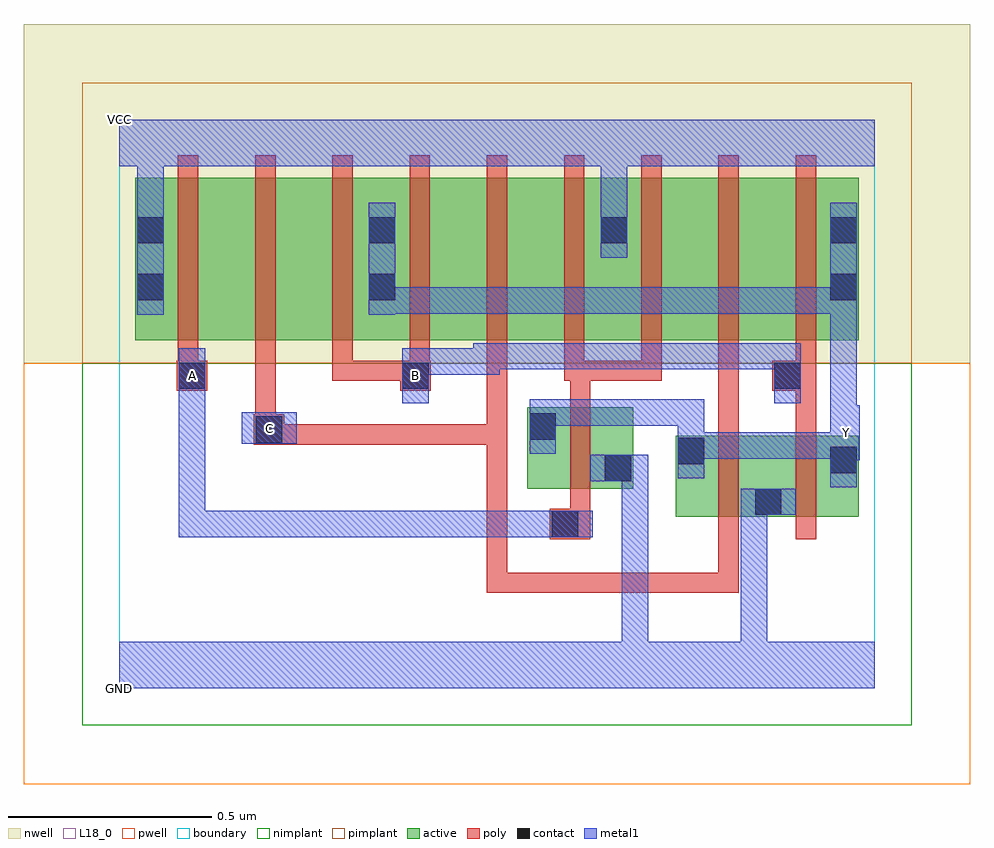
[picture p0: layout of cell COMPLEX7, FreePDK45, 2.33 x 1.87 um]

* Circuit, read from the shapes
.subckt COMPLEX7 A B C GND VCC Y
M1 GND A Y VSUBS nfet w=0.2u l=0.05u
M2 GND C Y VSUBS nfet w=0.2u l=0.05u
M3 Y B GND VSUBS nfet w=0.2u l=0.05u
M4 n1 A VCC n2 pfet w=0.4u l=0.05u
M5 n3 C n1 n2 pfet w=0.4u l=0.05u
M6 Y B n3 n2 pfet w=0.4u l=0.05u
M7 n4 B Y n2 pfet w=0.4u l=0.05u
M8 n5 C n4 n2 pfet w=0.4u l=0.05u
M9 VCC A n5 n2 pfet w=0.4u l=0.05u
M10 n6 A VCC n2 pfet w=0.4u l=0.05u
M11 n7 C n6 n2 pfet w=0.4u l=0.05u
M12 Y B n7 n2 pfet w=0.4u l=0.05u
.ends

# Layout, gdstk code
import gdstk
lib = gdstk.Library(unit=1e-6, precision=1e-09)
def R(c, l, rs):  # rectangles x0, y0, x1, y1
    for r in rs: c.add(gdstk.rectangle(r[:2], r[2:], *l))
def A(c, l, x, y, w, h, nx, ny, dx, dy):  # array of equal rectangles
    R(c, l, [(x+i*dx, y+j*dy, x+i*dx+w, y+j*dy+h) for i in range(nx) for j in range(ny)])
active = (1, 0)
pwell = (2, 0)
nwell = (3, 0)
nimplant = (4, 0)
pimplant = (5, 0)
poly = (9, 0)
contact = (10, 0)
metal1 = (11, 0)
L18_0 = (18, 0)
boundary = (235, 0)

complex7 = lib.new_cell('COMPLEX7')
A(complex7, active, 0.04, 0.857, 0.225, 0.4, 3, 1, 0.57, 0)
A(complex7, active, 0.265, 0.857, 0.19, 0.4, 3, 1, 0.57, 0)
R(complex7, active, [(1.37,0.422,1.445,0.622), (1.37,0.422,1.635,0.622), (1.56,0.422,1.82,0.622), (1.56,0.422,1.635,0.497), (1.745,0.422,1.82,0.622), (1.005,0.492,1.08,0.692), (1.005,0.492,1.265,0.692), (1.19,0.505,1.265,0.692), (0.04,0.857,0.115,1.257), (0.455,0.857,0.685,1.257), (0.61,0.857,0.685,1.2), (1.025,0.857,1.255,1.257), (1.18,0.857,1.255,1.257), (1.595,0.857,1.82,1.257), (1.745,0.857,1.82,1.2)])
R(complex7, pwell, [(-0.235,-0.235,2.095,0.8)])
R(complex7, nwell, [(-0.235,0.8,2.095,1.635)])
R(complex7, nimplant, [(-0.09,-0.09,1.95,0.8)])
R(complex7, pimplant, [(-0.09,0.8,1.95,1.49)])
A(complex7, poly, 0.145, 0.802, 0.05, 0.51, 9, 1, 0.19, 0)
R(complex7, poly, [(0.905,0.235,0.955,0.285), (0.905,0.235,1.027,0.285), (0.905,0.235,0.955,0.65), (0.977,0.235,1.027,0.285), (0.977,0.235,1.202,0.285), (1.152,0.235,1.202,0.285), (1.152,0.235,1.202,0.285), (1.152,0.235,1.202,0.285), (1.152,0.235,1.392,0.285), (1.342,0.235,1.392,0.285), (1.342,0.235,1.525,0.285), (1.475,0.235,1.525,0.285), (1.475,0.235,1.525,0.285), (1.475,0.235,1.525,0.285), (1.475,0.235,1.525,0.285), (1.475,0.235,1.525,0.285), (1.475,0.235,1.525,0.417), (1.06,0.367,1.16,0.442), (1.475,0.367,1.525,0.677), (1.665,0.367,1.715,0.677), (1.11,0.392,1.16,0.487), (1.11,0.437,1.16,0.747), (0.332,0.6,0.407,0.675), (0.357,0.6,0.407,0.65), (0.357,0.6,0.407,0.65), (0.357,0.6,0.407,0.65), (0.357,0.6,0.407,0.65), (0.357,0.6,0.61,0.65), (0.56,0.6,0.61,0.65), (0.56,0.6,0.61,0.65), (0.56,0.6,0.61,0.65), (0.56,0.6,0.742,0.65), (0.692,0.6,0.742,0.65), (0.692,0.6,0.742,0.65), (0.692,0.6,0.742,0.65), (0.692,0.6,0.875,0.65), (0.825,0.6,0.875,0.65), (0.825,0.6,0.955,0.65), (0.905,0.6,0.955,0.65), (0.905,0.6,0.955,0.65), (0.905,0.6,0.955,0.65), (0.905,0.6,0.955,0.65), (0.905,0.6,0.955,0.65), (0.905,0.6,0.955,0.65), (0.905,0.6,0.955,0.65), (0.905,0.6,0.955,0.852), (0.335,0.625,0.385,0.852), (1.475,0.627,1.525,0.722), (1.665,0.627,1.715,0.782), (1.475,0.672,1.525,0.852), (1.475,0.672,1.525,0.722), (1.11,0.697,1.16,0.807), (0.142,0.732,0.217,0.807), (0.692,0.732,0.767,0.807), (1.607,0.732,1.715,0.807), (0.145,0.757,0.195,0.852), (0.525,0.757,0.575,0.852), (0.525,0.757,0.575,0.807), (0.525,0.757,0.742,0.807), (0.692,0.757,0.742,0.807), (0.692,0.757,0.742,0.807), (0.715,0.757,0.765,0.852), (1.095,0.757,1.145,0.852), (1.095,0.757,1.16,0.807), (1.11,0.757,1.16,0.807), (1.11,0.757,1.16,0.807), (1.11,0.757,1.335,0.807), (1.285,0.757,1.335,0.852), (1.285,0.757,1.335,0.807), (1.665,0.757,1.715,0.852)])
A(complex7, contact, 0.045, 1.095, 0.065, 0.065, 3, 1, 0.57, 0)
R(complex7, contact, [(1.065,0.372,1.13,0.437), (1.565,0.427,1.63,0.492), (1.195,0.51,1.26,0.575), (1.75,0.53,1.815,0.595), (1.375,0.552,1.44,0.617), (0.337,0.605,0.402,0.67), (1.01,0.612,1.075,0.677), (0.147,0.737,0.212,0.802), (0.697,0.737,0.762,0.802), (1.612,0.737,1.677,0.802), (0.045,0.955,0.11,1.02), (0.615,0.955,0.68,1.02), (1.75,0.955,1.815,1.02), (1.75,1.095,1.815,1.16)])
R(complex7, metal1, [(0,0,1.86,0.115), (1.237,0.05,1.302,0.115), (1.237,0.05,1.302,0.115), (1.237,0.05,1.302,0.115), (1.237,0.05,1.302,0.115), (1.237,0.05,1.302,0.115), (1.237,0.05,1.302,0.115), (1.237,0.05,1.302,0.115), (1.237,0.05,1.302,0.115), (1.237,0.05,1.302,0.575), (1.53,0.05,1.595,0.115), (1.53,0.05,1.595,0.115), (1.53,0.05,1.595,0.115), (1.53,0.05,1.595,0.115), (1.53,0.05,1.595,0.115), (1.53,0.05,1.595,0.115), (1.53,0.05,1.595,0.115), (1.53,0.05,1.595,0.115), (1.53,0.05,1.595,0.492), (0.147,0.372,0.35,0.437), (0.147,0.372,0.212,0.437), (0.147,0.372,0.212,0.767), (0.285,0.372,0.35,0.437), (0.285,0.372,0.35,0.437), (0.285,0.372,0.35,0.437), (0.285,0.372,0.542,0.437), (0.477,0.372,0.542,0.437), (0.477,0.372,0.762,0.437), (0.697,0.372,0.9,0.437), (0.697,0.372,0.762,0.437), (0.697,0.372,0.762,0.437), (0.697,0.372,0.762,0.437), (0.835,0.372,0.9,0.437), (0.835,0.372,0.9,0.437), (0.835,0.372,0.9,0.437), (0.835,0.372,0.9,0.437), (0.835,0.372,0.9,0.437), (0.835,0.372,0.9,0.437), (0.835,0.372,0.9,0.437), (0.835,0.372,1.075,0.437), (1.01,0.372,1.075,0.437), (1.01,0.372,1.095,0.437), (1.03,0.372,1.165,0.437), (1.53,0.427,1.665,0.492), (1.75,0.495,1.815,0.63), (1.16,0.51,1.302,0.575), (1.375,0.517,1.44,0.712), (1.75,0.562,1.815,0.627), (1.75,0.562,1.822,0.697), (1.375,0.565,1.44,0.63), (1.375,0.565,1.44,0.63), (1.375,0.565,1.577,0.63), (1.512,0.565,1.577,0.63), (1.512,0.565,1.577,0.63), (1.512,0.565,1.577,0.63), (1.512,0.565,1.815,0.63), (1.01,0.577,1.075,0.712), (0.302,0.602,0.437,0.68), (1.75,0.632,1.815,0.985), (1.01,0.647,1.075,0.712), (1.01,0.647,1.075,0.712), (1.01,0.647,1.302,0.712), (1.237,0.647,1.44,0.712), (1.237,0.647,1.302,0.712), (1.237,0.647,1.302,0.712), (1.237,0.647,1.302,0.712), (0.147,0.702,0.212,0.767), (0.147,0.702,0.212,0.767), (0.147,0.702,0.212,0.837), (0.697,0.702,0.762,0.837), (1.612,0.702,1.677,0.837), (0.697,0.772,0.937,0.837), (0.872,0.772,0.937,0.85), (1.612,0.772,1.677,0.837), (1.612,0.772,1.677,0.85), (0.872,0.785,0.937,0.85), (0.872,0.785,0.937,0.85), (0.872,0.785,1.087,0.85), (1.022,0.785,1.087,0.85), (1.022,0.785,1.087,0.85), (1.022,0.785,1.087,0.85), (1.022,0.785,1.302,0.85), (1.237,0.785,1.44,0.85), (1.237,0.785,1.302,0.85), (1.237,0.785,1.302,0.85), (1.237,0.785,1.302,0.85), (1.375,0.785,1.44,0.85), (1.375,0.785,1.44,0.85), (1.375,0.785,1.44,0.85), (1.375,0.785,1.677,0.85), (0.045,0.92,0.11,1.195), (0.615,0.92,0.68,1.195), (1.75,0.92,1.815,1.195), (0.615,0.922,0.68,0.987), (0.615,0.922,0.68,0.987), (0.615,0.922,0.9,0.987), (0.835,0.922,0.9,0.987), (0.835,0.922,0.9,0.987), (0.835,0.922,0.9,0.987), (0.835,0.922,1.087,0.987), (1.022,0.922,1.087,0.987), (1.022,0.922,1.087,0.987), (1.022,0.922,1.087,0.987), (1.022,0.922,1.302,0.987), (1.237,0.922,1.44,0.987), (1.237,0.922,1.302,0.987), (1.237,0.922,1.302,0.987), (1.237,0.922,1.302,0.987), (1.375,0.922,1.44,0.987), (1.375,0.922,1.44,0.987), (1.375,0.922,1.44,0.987), (1.375,0.922,1.677,0.987), (1.612,0.922,1.815,0.987), (1.612,0.922,1.677,0.987), (1.612,0.922,1.677,0.987), (1.612,0.922,1.677,0.987), (1.185,1.06,1.25,1.195), (0.045,1.13,0.11,1.35), (1.185,1.13,1.25,1.35), (0,1.285,1.86,1.4)])
R(complex7, L18_0, [(0,0,1.86,0.115), (1.237,0.05,1.302,0.115), (1.237,0.05,1.302,0.115), (1.237,0.05,1.302,0.115), (1.237,0.05,1.302,0.115), (1.237,0.05,1.302,0.115), (1.237,0.05,1.302,0.115), (1.237,0.05,1.302,0.115), (1.237,0.05,1.302,0.115), (1.237,0.05,1.302,0.575), (1.53,0.05,1.595,0.115), (1.53,0.05,1.595,0.115), (1.53,0.05,1.595,0.115), (1.53,0.05,1.595,0.115), (1.53,0.05,1.595,0.115), (1.53,0.05,1.595,0.115), (1.53,0.05,1.595,0.115), (1.53,0.05,1.595,0.115), (1.53,0.05,1.595,0.492), (0.147,0.372,0.212,0.437), (0.147,0.372,0.212,0.767), (0.147,0.372,0.35,0.437), (0.285,0.372,0.35,0.437), (0.285,0.372,0.35,0.437), (0.285,0.372,0.35,0.437), (0.285,0.372,0.542,0.437), (0.477,0.372,0.542,0.437), (0.477,0.372,0.762,0.437), (0.697,0.372,0.762,0.437), (0.697,0.372,0.762,0.437), (0.697,0.372,0.762,0.437), (0.697,0.372,0.9,0.437), (0.835,0.372,0.9,0.437), (0.835,0.372,0.9,0.437), (0.835,0.372,0.9,0.437), (0.835,0.372,0.9,0.437), (0.835,0.372,0.9,0.437), (0.835,0.372,0.9,0.437), (0.835,0.372,0.9,0.437), (0.835,0.372,1.075,0.437), (1.01,0.372,1.075,0.437), (1.01,0.372,1.095,0.437), (1.03,0.372,1.165,0.437), (1.53,0.427,1.665,0.492), (1.75,0.495,1.815,0.63), (1.16,0.51,1.302,0.575), (1.375,0.517,1.44,0.712), (1.75,0.562,1.815,0.627), (1.75,0.562,1.822,0.697), (1.375,0.565,1.44,0.63), (1.375,0.565,1.44,0.63), (1.375,0.565,1.577,0.63), (1.512,0.565,1.577,0.63), (1.512,0.565,1.577,0.63), (1.512,0.565,1.577,0.63), (1.512,0.565,1.815,0.63), (1.01,0.577,1.075,0.712), (1.757,0.597,1.822,0.662), (0.302,0.602,0.437,0.68), (0.337,0.607,0.402,0.672), (1.75,0.632,1.815,0.985), (1.01,0.647,1.075,0.712), (1.01,0.647,1.075,0.712), (1.01,0.647,1.302,0.712), (1.237,0.647,1.302,0.712), (1.237,0.647,1.302,0.712), (1.237,0.647,1.302,0.712), (1.237,0.647,1.44,0.712), (0.147,0.702,0.212,0.837), (0.147,0.702,0.212,0.767), (0.147,0.702,0.212,0.767), (0.697,0.702,0.762,0.837), (1.612,0.702,1.677,0.837), (0.147,0.737,0.212,0.802), (0.697,0.737,0.762,0.802), (0.697,0.772,0.937,0.837), (0.872,0.772,0.937,0.85), (1.612,0.772,1.677,0.837), (1.612,0.772,1.677,0.85), (0.872,0.785,0.937,0.85), (0.872,0.785,0.937,0.85), (0.872,0.785,1.087,0.85), (1.022,0.785,1.087,0.85), (1.022,0.785,1.087,0.85), (1.022,0.785,1.087,0.85), (1.022,0.785,1.302,0.85), (1.237,0.785,1.302,0.85), (1.237,0.785,1.302,0.85), (1.237,0.785,1.302,0.85), (1.237,0.785,1.44,0.85), (1.375,0.785,1.44,0.85), (1.375,0.785,1.44,0.85), (1.375,0.785,1.44,0.85), (1.375,0.785,1.677,0.85), (0.045,0.92,0.11,1.195), (0.615,0.92,0.68,1.195), (1.75,0.92,1.815,1.195), (0.615,0.922,0.68,0.987), (0.615,0.922,0.68,0.987), (0.615,0.922,0.9,0.987), (0.835,0.922,0.9,0.987), (0.835,0.922,0.9,0.987), (0.835,0.922,0.9,0.987), (0.835,0.922,1.087,0.987), (1.022,0.922,1.087,0.987), (1.022,0.922,1.087,0.987), (1.022,0.922,1.087,0.987), (1.022,0.922,1.302,0.987), (1.237,0.922,1.302,0.987), (1.237,0.922,1.302,0.987), (1.237,0.922,1.302,0.987), (1.237,0.922,1.44,0.987), (1.375,0.922,1.44,0.987), (1.375,0.922,1.44,0.987), (1.375,0.922,1.44,0.987), (1.375,0.922,1.677,0.987), (1.612,0.922,1.677,0.987), (1.612,0.922,1.677,0.987), (1.612,0.922,1.677,0.987), (1.612,0.922,1.815,0.987), (1.185,1.06,1.25,1.195), (0.045,1.13,0.11,1.35), (1.185,1.13,1.25,1.35), (0,1.285,1.86,1.4)])
R(complex7, boundary, [(0,0,1.86,1.4)])
complex7.add(gdstk.Label('A', (0.18,0.77), layer=11, texttype=0))
complex7.add(gdstk.Label('B', (0.73,0.77), layer=11, texttype=0))
complex7.add(gdstk.Label('C', (0.37,0.64), layer=11, texttype=0))
complex7.add(gdstk.Label('Y', (1.79,0.63), layer=11, texttype=0))
complex7.add(gdstk.Label('VCC', (0,1.4), layer=11, texttype=0))
complex7.add(gdstk.Label('GND', (0,0), layer=11, texttype=0))

lib.write_gds('COMPLEX7.gds')
